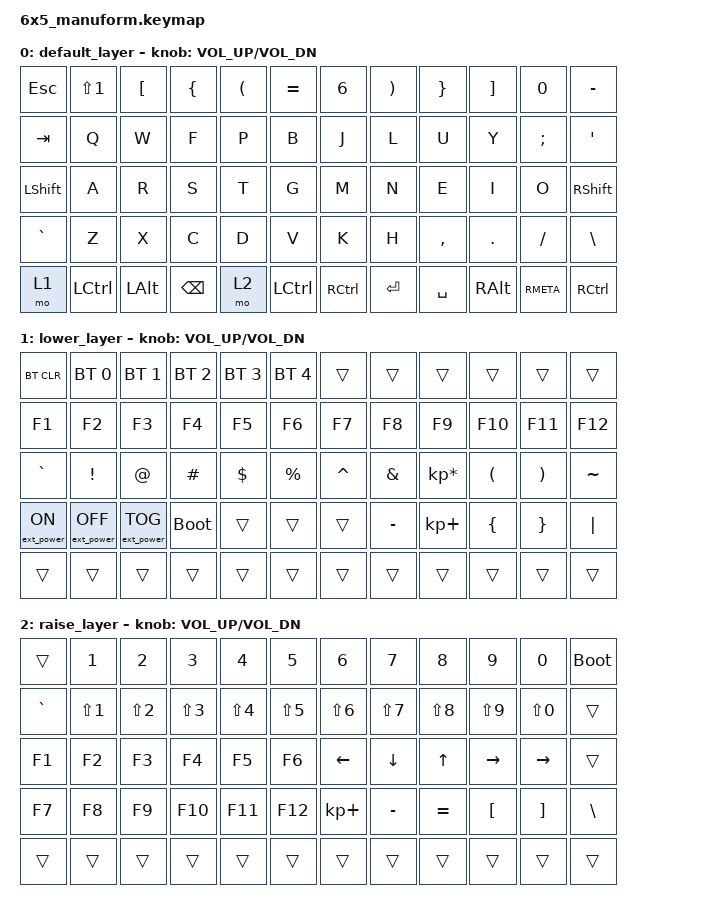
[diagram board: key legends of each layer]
/*
 * Copyright (c) 2020 The ZMK Contributors
 *
 * SPDX-License-Identifier: MIT
 */

#include <behaviors.dtsi>
#include <dt-bindings/zmk/bt.h>
#include <dt-bindings/zmk/ext_power.h>
#include <dt-bindings/zmk/keys.h>

/ {
    keymap {
        compatible = "zmk,keymap";

        default_layer {
            // ------------------------------------------------------------------------------------------------------------
            // |  ESC   |  1  |  2  |  3   |  4   |  5   |                    |  6   |  7    |  8    |  9   |   0   |   `   |
            // |  TAB   |  Q  |  W  |  E   |  R   |  T   |                    |  Y   |  U    |  I    |  O   |   P   |   -   |
            // |  CTRL  |  A  |  S  |  D   |  F   |  G   |                    |  H   |  J    |  K    |  L   |   ;   |   '   |
            // | SHIFT  |  Z  |  X  |  C   |  V   |  B   |                    |  N   |  M    |  ,    |  .   |   /   | SHIFT |
            // |    2   |  2  | f   | 6    | 4    | 1    |                    | 2    | 1     | w     | s    | n     |  a    |

            bindings = <
&kp ESC    &kp LS(N1)  &kp LEFT_BRACKET  &kp LEFT_BRACE  &kp LEFT_PARENTHESIS  &kp EQUAL         &kp N6             &kp RIGHT_PARENTHESIS  &kp RIGHT_BRACE  &kp RIGHT_BRACKET  &kp N0     &kp MINUS
&kp TAB    &kp Q       &kp W             &kp F           &kp P                 &kp B             &kp J              &kp L                  &kp U            &kp Y              &kp SEMI   &kp SINGLE_QUOTE
&kp LSHFT  &kp A       &kp R             &kp S           &kp T                 &kp G             &kp M              &kp N                  &kp E            &kp I              &kp O      &kp RSHIFT
&kp GRAVE  &kp Z       &kp X             &kp C           &kp D                 &kp V             &kp K              &kp H                  &kp COMMA        &kp DOT            &kp FSLH   &kp BSLH
&mo 1      &kp LCTRL   &kp LEFT_ALT      &kp BACKSPACE   &mo 2                 &kp LEFT_CONTROL  &kp RIGHT_CONTROL  &kp RET                &kp SPACE        &kp RIGHT_ALT      &kp RMETA  &kp RCTRL
            >;

            sensor-bindings = <&inc_dec_kp C_VOL_UP C_VOL_DN>;
        };

        lower_layer {
            // ------------------------------------------------------------------------------------------------------------
            // | BTCLR | BT1 | BT2 |  BT3 |  BT4 |  BT5 |                   |      |       |       |      |       |       |
            // |  F1   |  F2 |  F3 |  F4  |  F5  |  F6  |                   |  F7  |  F8   |  F9   |  F10 |  F11  |  F12  |
            // |   `   |  !  |  @  |  #   |  $   |  %   |                   |  ^   |  &    |  *    |  (   |   )   |   ~   |
            // |       |     |     |      |      |      |                   |      |  _    |  +    |  {   |   }   |  "|"  |
            // |       |     |     |      |      |      |                   |      |       |       |      |       |       |

            bindings = <
&bt BT_CLR        &bt BT_SEL 0       &bt BT_SEL 1       &bt BT_SEL 2  &bt BT_SEL 3  &bt BT_SEL 4  &trans     &trans     &trans           &trans    &trans    &trans
&kp F1            &kp F2             &kp F3             &kp F4        &kp F5        &kp F6        &kp F7     &kp F8     &kp F9           &kp F10   &kp F11   &kp F12
&kp GRAVE         &kp EXCL           &kp AT             &kp HASH      &kp DOLLAR    &kp PRCNT     &kp CARET  &kp AMPS   &kp KP_MULTIPLY  &kp LPAR  &kp RPAR  &kp TILDE
&ext_power EP_ON  &ext_power EP_OFF  &ext_power EP_TOG  &bootloader   &trans        &trans        &trans     &kp MINUS  &kp KP_PLUS      &kp LBRC  &kp RBRC  &kp PIPE
&trans            &trans             &trans             &trans        &trans        &trans        &trans     &trans     &trans           &trans    &trans    &trans
            >;

            sensor-bindings = <&inc_dec_kp C_VOL_UP C_VOL_DN>;
        };

        raise_layer {
            // ------------------------------------------------------------------------------------------------------------
            // |       |     |     |      |      |      |                   |      |       |       |      |       |       |
            // |   `   |  1  |  2  |  3   |  4   |  5   |                   |  6   |   7   |   8   |  9   |   0   |       |
            // |   F1  |  F2 |  F3 |  F4  |  F5  |  F6  |                   |      |   <-  |   v   |  ^   |  ->   |       |
            // |   F7  |  F8 |  F9 |  F10 |  F11 |  F12 |		             |  +   |   -   |   =   |  [   |   ]   |   \   |
            // |     |     |      |      |      |        |                   |       |      |       |       |      |       |

            bindings = <
&trans     &kp NUMBER_1  &kp NUMBER_2  &kp NUMBER_3  &kp NUMBER_4  &kp N5      &kp NUMBER_6  &kp N7      &kp N8        &kp N9      &kp N0      &bootloader
&kp GRAVE  &kp LS(N1)    &kp LS(N2)    &kp LS(N3)    &kp LS(N4)    &kp LS(N5)  &kp LS(N6)    &kp LS(N7)  &kp LS(N8)    &kp LS(N9)  &kp LS(N0)  &trans
&kp F1     &kp F2        &kp F3        &kp F4        &kp F5        &kp F6      &kp LEFT      &kp DOWN    &kp UP_ARROW  &kp RIGHT   &kp RIGHT   &trans
&kp F7     &kp F8        &kp F9        &kp F10       &kp F11       &kp F12     &kp KP_PLUS   &kp MINUS   &kp EQUAL     &kp LBKT    &kp RBKT    &kp BSLH
&trans     &trans        &trans        &trans        &trans        &trans      &trans        &trans      &trans        &trans      &trans      &trans
            >;

            sensor-bindings = <&inc_dec_kp C_VOL_UP C_VOL_DN>;
        };
    };
};
